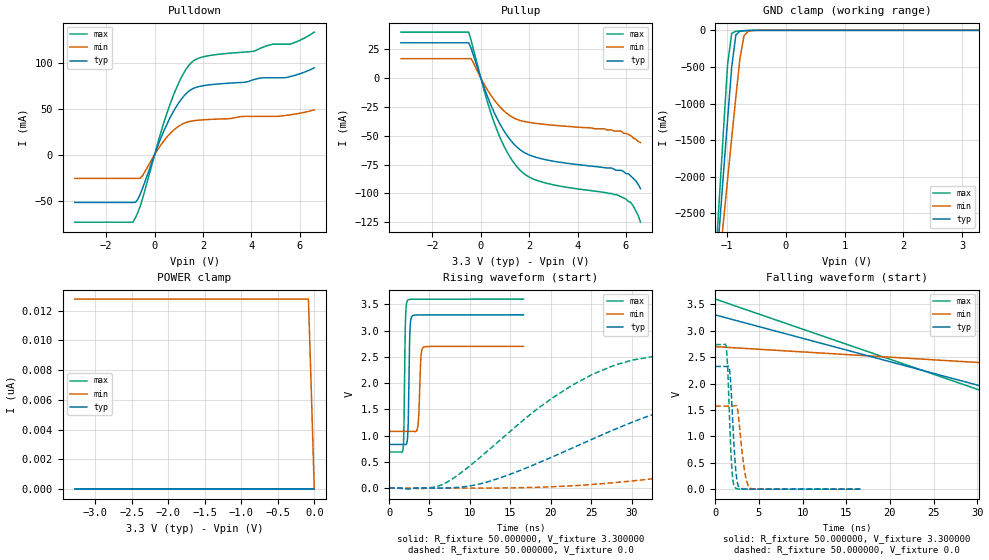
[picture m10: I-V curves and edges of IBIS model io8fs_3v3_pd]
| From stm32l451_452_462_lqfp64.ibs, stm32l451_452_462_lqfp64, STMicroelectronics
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|   Model io8fs_3v3_pd
[Model]  io8fs_3v3_pd
Model_type I/O
Polarity   Non-Inverting
Enable   Active-Low
Vinl =   0.990000V
Vinh =   2.310000V
Vmeas =  1.650000V
Cref =   100.000000nF
Rref =   1.000000k
Vref =   3.300000V
C_comp   2.267200pF   2.233100pF   2.322300pF
[Temperature Range]   25.000000   0.125000k   -40.000000
[Pullup Reference]   3.300000V   2.700000V   3.600000V
[Pulldown Reference]   0.0V   0.0V   0.0V
[POWER Clamp Reference]   3.300000V   2.700000V   3.600000V
[GND Clamp Reference]   0.0V   0.0V   0.0V
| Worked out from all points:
|   slope of the pulldown table from 0 to 0.495 V, typ, clamps not added: 15.3 ohm
|   slope of the pullup table from 0 to 0.495 V, typ, clamps not added: 18.1 ohm
|   GND clamp passes 1 mA (typ) near -0.58 V on its own axis
|   rising waveform, R_fixture 50.000000, V_fixture 3.300000: 20-80 % time 168ps typ, 221ps min, 156ps max; typ from 0.831 V to 3.3 V
|   rising waveform, R_fixture 50.000000, V_fixture 0.0: 20-80 % time 24.3ns typ, 54.5ns min, 14.6ns max; typ from 0 V to 2.32 V
|   falling waveform, R_fixture 50.000000, V_fixture 3.300000: 20-80 % time 33.4ns typ, 61.6ns min, 30.7ns max; typ from 3.3 V to 0.831 V
|   falling waveform, R_fixture 50.000000, V_fixture 0.0: 20-80 % time 474ps typ, 655ps min, 392ps max; typ from 2.32 V to 0 V
[Pulldown]
|Voltage   I(typ)   I(min)   I(max)
-3.3V     -51.86mA   -25.67mA   -73.32mA
-900mV    -51.86mA   -25.67mA   -73.32mA
-700mV    -48.68mA   -25.67mA   -63.27mA
-500mV    -36.68mA   -22.92mA   -47.9mA
200mV     14.09mA    8.363mA    18.97mA
700mV     43.2mA     24.54mA    59.15mA
1.2V      63.38mA    34mA       88.53mA
1.6V      72.01mA    36.89mA    101.8mA
4.1V      81.58mA    41.61mA    112.4mA
4.9V      83.61mA    41.61mA    120.1mA
5.6V      84.89mA    43.33mA    120.1mA
6.6V      94.39mA    48.68mA    133.3mA
[Pullup]
|Voltage   I(typ)   I(min)   I(max)
-3.3V     30.51mA    16.73mA    39.79mA
-500mV    30.51mA    16.73mA    39.79mA
-400mV    25.73mA    16.73mA    32.44mA
200mV     -11.99mA   -7.69mA    -15.6mA
500mV     -27.53mA   -17.49mA   -35.6mA
1V        -47.29mA   -29.38mA   -60.81mA
1.5V      -60.05mA   -35.95mA   -77.15mA
1.9V      -65.77mA   -38.13mA   -84.64mA
2.6V      -70.47mA   -40.14mA   -90.6mA
5.6V      -80mA      -46mA      -101mA
6.2V      -85mA      -50mA      -108mA
6.6V      -96mA      -56mA      -125mA
[GND_clamp]
|Voltage   I(typ)   I(min)   I(max)
-3.3V     -9.456A    -9.706A    -9.779A
-1.2V     -3.441A    -3.76A     -3.218A
-1.13V    -2.694A    -3.182A    -2.288A
-1.06V    -1.951A    -2.607A    -1.365A
-990mV    -1.216A    -2.035A    -464.9mA
-920mV    -500mA     -1.468A    -40.16mA
-850mV    -63.52mA   -913mA     -13.8mA
-780mV    -11.85mA   -384.3mA   -8.868mA
-710mV    -4.793mA   -70.28mA   -5.239mA
-640mV    -2.262mA   -14.31mA   -2.457mA
-430mV    -37.93uA   -161.8uA   -20.28uA
3.28V     87.11uA    89uA       71.58uA
[POWER_clamp]
|Voltage   I(typ)   I(min)   I(max)
-3.28V    0A         12.77nA    0A
-80mV     0A         12.77nA    0A
-40mV     0A         6.549nA    0A
0V        0A         0A         0A
[Ramp]
| variable   typ   min   max
dV/dt_r  1.39404/24.31899n   0.94416/54.54979n   1.64262/14.56547n
dV/dt_f  1.48081/21.07455n   0.97074/44.50667n   1.74729/13.65241n
R_load = 50.000000
[Rising Waveform]
R_fixture= 50.000000
V_fixture= 3.300000
V_fixture_min= 2.700000
V_fixture_max= 3.600000
|time   V(typ)   V(min)   V(max)
0s        830.9mV    1.081V     687.1mV
1.735ns   830.7mV    1.081V     744.7mV
1.835ns   830.4mV    1.081V     1.09V
2.035ns   828.4mV    1.081V     3.186V
2.302ns   979mV      1.081V     3.577V
2.569ns   2.917V     1.081V     3.593V
2.87ns    3.279V     1.08V      3.595V
3.57ns    3.296V     1.187V     3.596V
4.238ns   3.297V     2.679V     3.596V
16.62ns   3.299V     2.699V     3.599V
[Rising Waveform]
R_fixture= 50.000000
V_fixture= 0.0
V_fixture_min= 0.0
V_fixture_max= 0.0
|time   V(typ)   V(min)   V(max)
0s        2.475nV    39.58nV    2.334nV
7.207ns   2.236mV    -147.9uV   116.1mV
12.61ns   138.1mV    1.132mV    764.3mV
19.82ns   570.1mV    22.97mV    1.674V
27.63ns   1.1V       100.3mV    2.325V
41.44ns   1.814V     345.7mV    2.636V
64.26ns   2.213V     817.1mV    2.719V
88.29ns   2.289V     1.194V     2.735V
120.7ns   2.316V     1.444V     2.737V
299.1ns   2.323V     1.574V     2.738V
[Falling Waveform]
R_fixture= 50.000000
V_fixture= 3.300000
V_fixture_min= 2.700000
V_fixture_max= 3.600000
|time   V(typ)   V(min)   V(max)
0s        3.299V     2.699V     3.599V
50.05ns   1.083V     2.199V     749.3mV
100.1ns   858.2mV    1.294V     691.5mV
150.2ns   835.9mV    1.141V     687.6mV
200.2ns   831.9mV    1.101V     687.1mV
300.3ns   830.9mV    1.083V     687.1mV
4.955us   830.9mV    1.081V     687.1mV
[Falling Waveform]
R_fixture= 50.000000
V_fixture= 0.0
V_fixture_min= 0.0
V_fixture_max= 0.0
|time   V(typ)   V(min)   V(max)
0s        2.323V     1.574V     2.738V
1.235ns   2.323V     1.574V     2.704V
1.401ns   2.327V     1.574V     2.365V
1.602ns   2.291V     1.574V     1.498V
1.902ns   1.605V     1.574V     384.4mV
2.302ns   452.5mV    1.582V     24.09mV
2.703ns   40.64mV    1.312V     2.331mV
3.403ns   1.062mV    300.9mV    236.7uV
4.037ns   38.7uV     15.65mV    148.3uV
16.62ns   2.475nV    39.58nV    2.334nV
